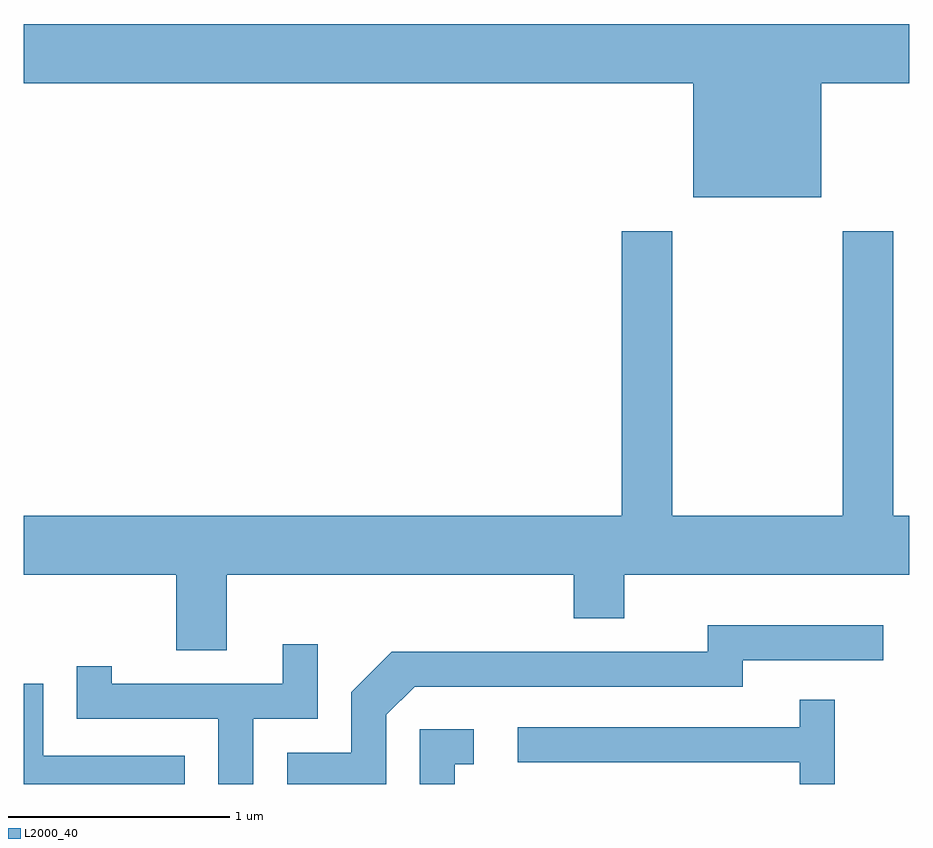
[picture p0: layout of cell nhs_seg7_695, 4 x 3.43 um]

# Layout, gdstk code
import gdstk
lib = gdstk.Library(unit=1e-6, precision=1e-09)
def P(c, l, *ps):  # polygons
    for p in ps: c.add(gdstk.Polygon(p, *l))
L2000_40 = (2000, 40)

nhs_seg7_695 = lib.new_cell('nhs_seg7_695')
P(nhs_seg7_695, L2000_40, [(209.214,1725.416),(209.611,1725.416),(209.611,1725.684),(205.611,1725.684),(205.611,1725.416),(208.636,1725.416),(208.636,1724.901),(209.214,1724.901)],
  [(206.529,1723.196),(208.096,1723.196),(208.096,1723.001),(208.324,1723.001),(208.324,1723.196),(209.611,1723.196),(209.611,1723.464),(209.539,1723.464),(209.539,1724.749),(209.311,1724.749),(209.311,1723.464),(208.539,1723.464),(208.539,1724.749),(208.311,1724.749),(208.311,1723.464),(205.611,1723.464),(205.611,1723.196),(206.301,1723.196),(206.301,1722.856),(206.529,1722.856)],
  [(207.249,1722.564),(207.377,1722.691),(208.859,1722.691),(208.859,1722.811),(209.493,1722.811),(209.493,1722.969),(208.701,1722.969),(208.701,1722.849),(207.274,1722.849),(207.091,1722.667),(207.091,1722.394),(206.801,1722.394),(206.801,1722.252),(207.249,1722.252)],
  [(206.649,1722.546),(206.939,1722.546),(206.939,1722.883),(206.781,1722.883),(206.781,1722.704),(206.009,1722.704),(206.009,1722.783),(205.851,1722.783),(205.851,1722.546),(206.491,1722.546),(206.491,1722.252),(206.649,1722.252)],
  [(206.339,1722.379),(205.699,1722.379),(205.699,1722.704),(205.611,1722.704),(205.611,1722.252),(206.339,1722.252)],
  [(209.274,1722.633),(209.116,1722.633),(209.116,1722.509),(207.843,1722.509),(207.843,1722.351),(209.116,1722.351),(209.116,1722.252),(209.274,1722.252)],
  [(207.559,1722.341),(207.643,1722.341),(207.643,1722.499),(207.401,1722.499),(207.401,1722.252),(207.559,1722.252)])

lib.write_gds('nhs_seg7_695.gds')
